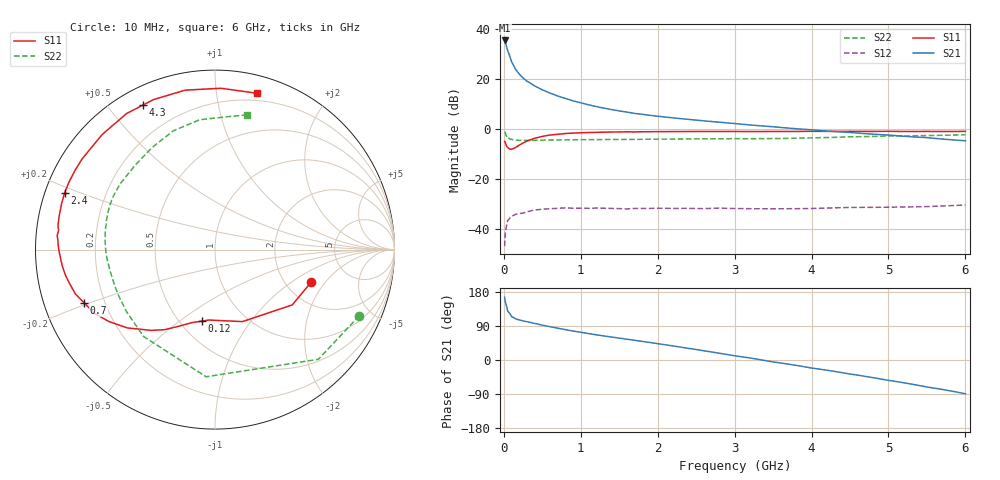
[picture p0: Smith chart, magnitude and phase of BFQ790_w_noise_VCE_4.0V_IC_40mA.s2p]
! Infineon Technologies  Discrete & RF Semiconductors
! BFQ790
! VCE =  4.0 V,  IC =  40 mA
! Common Emitter S-Parameters:  May 2015
# GHz  S  MA  R  50
!  f  S11  S21  S12  S22
! GHz  MAG  ANG  MAG  ANG  MAG  ANG  MAG  ANG
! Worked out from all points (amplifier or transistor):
!   77 points, 10 MHz to 6 GHz, reference 50 ohm
!   highest |S21| = 35.5 dB at 10 MHz (marker M1)
!   |S21| within 3 dB of that: start of sweep to 39.94 MHz
!   unconditionally stable (mu >= 1): 1.628 GHz to end of sweep
!   at 130 MHz: K = 0.69, MSG = 29.9 dB, |S12| = -34.5 dB
!   at 2.2 GHz: K = 1.12, MAG = 16.0 dB, |S12| = -31.8 dB
!   at 6 GHz: K = 1.79, MAG = 7.7 dB, |S12| = -30.4 dB
!   lowest NFmin = 2.18 dB at 900 MHz
!   S11 on the Smith chart (normalised r, x): 10 MHz: 2.74, -1.46; 120 MHz: 0.64, -0.61; 700 MHz: 0.12, -0.19; 2.4 GHz: 0.06, +0.18; 4.3 GHz: 0.07, +0.62; 6 GHz: 0.14, +1.29
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0.01  0.566 -18.7  59.84 165.4  0.0045 62.0  0.8847 -24.6
0.02  0.5293 -35.6  54.84 152.4  0.0084 57.6  0.8395 -46.7
0.05  0.4293 -69.2  37.42 128.7  0.0148 37.2  0.7103 -94.0
0.1  0.3939 -95.0  22.4 114.2  0.0178 24.6  0.6266 -129.4
0.12  0.4044 -100.2  19.82 112.5  0.0185 23.5  0.6113 -135.5
0.15  0.426 -107.4  16.01 108.8  0.0195 22.0  0.602 -145.1
0.2  0.4767 -115.9  12.66 105.6  0.0203 20.5  0.5957 -153.7
0.25  0.5271 -122.2  10.6 103.3  0.0207 17.2  0.5936 -159.2
0.3  0.5736 -128.3  9.155 101.0  0.022 14.8  0.5936 -163.2
0.4  0.6547 -138.2  7.342 96.4  0.0239 12.8  0.5967 -168.8
0.5  0.7145 -145.9  6.133 92.0  0.0247 8.2  0.6002 -172.6
0.7  0.787 -157.8  4.613 83.9  0.0258 3.9  0.6072 -178.3
0.9  0.831 -166.6  3.69 76.3  0.0259 -1.8  0.611 177.9
1.1  0.8546 -173.4  3.076 69.8  0.0259 -4.8  0.615 174.7
1.5  0.8765 176.7  2.314 57.7  0.0255 -10.4  0.6191 169.7
2.1  0.8897 165.4  1.743 40.2  0.0258 -17.2  0.6294 162.1
2.4  0.8955 159.3  1.567 30.7  0.0258 -21.2  0.6355 157.3
3.1  0.894 143.4  1.251 8.3  0.0255 -29.7  0.6419 142.6
4.1  0.9013 120.9  0.94 -24.0  0.0259 -37.5  0.6725 119.0
4.3  0.8997 116.6  0.892 -30.2  0.0264 -39.0  0.6845 114.1
5.1  0.8994 98.1  0.739 -56.8  0.0273 -48.5  0.7289 94.4
6  0.9016 75.1  0.585 -89.1  0.0301 -61.9  0.7708 76.8
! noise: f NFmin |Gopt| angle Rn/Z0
0.45  2.74  0.31  109  0.35
0.9  2.18  0.46  155  0.14
1.5  2.29  0.62  -180  0.07
1.8  2.51  0.66  -173  0.07
2.6  3.27  0.73  -155  0.19
3.5  4.02  0.86  -137  0.55
